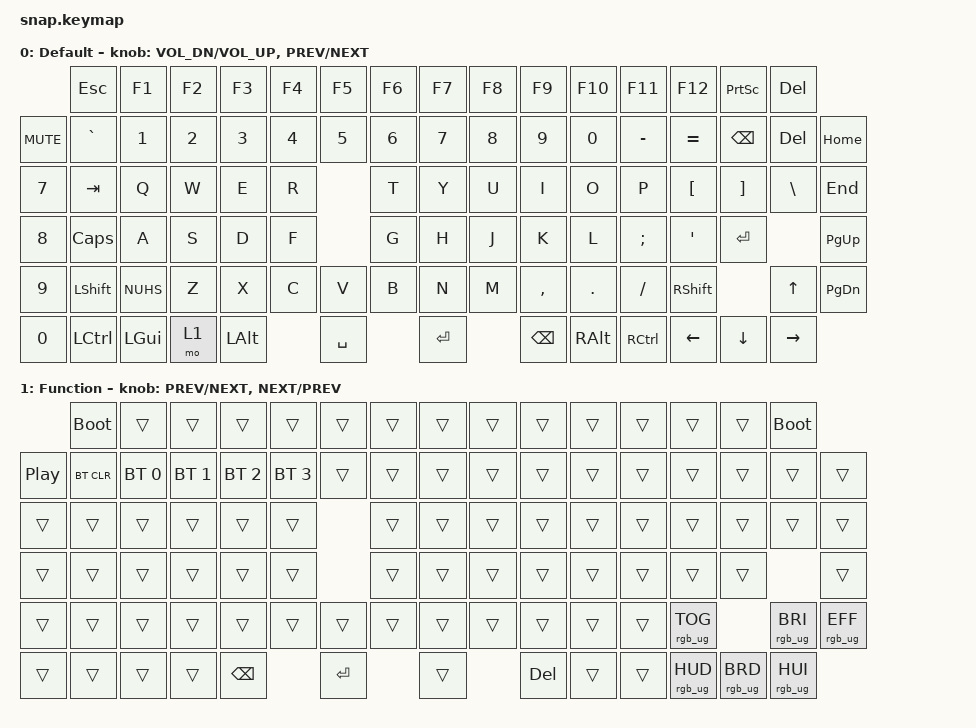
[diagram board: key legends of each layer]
/*
 * Copyright (c) 2022 The ZMK Contributors
 *
 * SPDX-License-Identifier: MIT
 */

#include <behaviors.dtsi>
#include <dt-bindings/zmk/keys.h>
#include <dt-bindings/zmk/rgb.h>
#include <dt-bindings/zmk/rgb.h>
#include <dt-bindings/zmk/bt.h>

/ {
	sensors {
		compatible = "zmk,keymap-sensors";
		sensors = <&left_encoder &right_encoder>;
	};

	keymap {
		compatible = "zmk,keymap";

		default_layer {
			label = "Default";
			sensor-bindings = <&inc_dec_kp C_VOL_DN C_VOL_UP &inc_dec_kp C_PREV C_NEXT>;
			bindings = <
             &kp ESC     &kp F1         &kp F2   &kp F3   &kp F4   &kp F5   &kp F6     &kp F7   &kp F8   &kp F9    &kp F10  &kp F11     &kp F12     &kp PSCRN    &kp DEL
&kp C_MUTE   &kp GRAVE   &kp N1         &kp N2   &kp N3   &kp N4   &kp N5   &kp N6     &kp N7   &kp N8   &kp N9    &kp N0   &kp MINUS   &kp EQUAL   &kp BSPC     &kp DEL    &kp HOME
&kp N7       &kp TAB     &kp Q          &kp W    &kp E    &kp R             &kp T      &kp Y    &kp U    &kp I     &kp O    &kp P       &kp LBKT    &kp RBKT     &kp BSLH   &kp END
&kp N8       &kp CLCK    &kp A          &kp S    &kp D    &kp F             &kp G      &kp H    &kp J    &kp K     &kp L    &kp SEMI    &kp SQT     &kp RET                 &kp PG_UP
&kp N9       &kp LSHFT   &kp NUHS       &kp Z    &kp X    &kp C    &kp V    &kp B      &kp N    &kp M    &kp COMMA &kp DOT  &kp FSLH    &kp RSHFT                &kp UP     &kp PG_DN
&kp N0       &kp LCTRL   &kp LGUI       &mo 1    &kp LALT          &kp SPACE           &kp RET           &kp BSPC    &kp RALT    &kp RCTRL   &kp LEFT     &kp DOWN   &kp RIGHT
			>;
		};

		function_layer {
			label = "Function";
			sensor-bindings = <&inc_dec_kp C_PREV C_NEXT &inc_dec_kp C_NEXT C_PREV>;
			bindings = <
             &bootloader &trans         &trans         &trans         &trans         &trans   &trans     &trans   &trans   &trans   &trans    &trans      &trans      &trans       &bootloader
&kp C_PP     &bt BT_CLR  &bt BT_SEL 0   &bt BT_SEL 1   &bt BT_SEL 2   &bt BT_SEL 3   &trans   &trans     &trans   &trans   &trans   &trans    &trans      &trans      &trans       &trans     &trans
&trans       &trans      &trans         &trans         &trans         &trans                  &trans     &trans   &trans   &trans   &trans    &trans      &trans      &trans       &trans     &trans 
&trans       &trans      &trans         &trans         &trans         &trans                  &trans     &trans   &trans   &trans   &trans    &trans      &trans                   &trans     &trans
&trans       &trans      &trans         &trans         &trans         &trans         &trans   &trans     &trans   &trans   &trans   &trans    &trans          &rgb_ug RGB_TOG &rgb_ug RGB_BRI &rgb_ug RGB_EFF
&trans       &trans      &trans         &trans         &kp BSPC         &kp RET         &trans                    &kp DEL    &trans  &trans  &rgb_ug RGB_HUD &rgb_ug RGB_BRD &rgb_ug RGB_HUI
			>;
		};
	};
};
